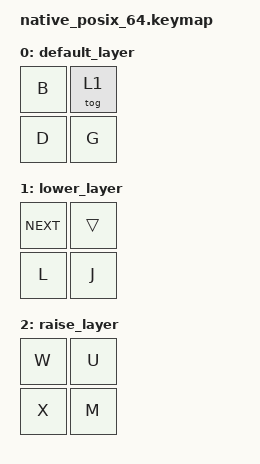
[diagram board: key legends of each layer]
#include <dt-bindings/zmk/keys.h>
#include <behaviors.dtsi>
#include <dt-bindings/zmk/kscan_mock.h>

/ {
    keymap {
        compatible = "zmk,keymap";
        label ="Default keymap";

        default_layer {
            bindings = <
                &kp B &tog 1
                &kp D &kp G>;
        };

        lower_layer {
            bindings = <
                &kp C_NEXT &trans
                &kp L  &kp J>;
        };

        raise_layer {
            bindings = <
                &kp W &kp U
                &kp X  &kp M>;
        };
    };
};
